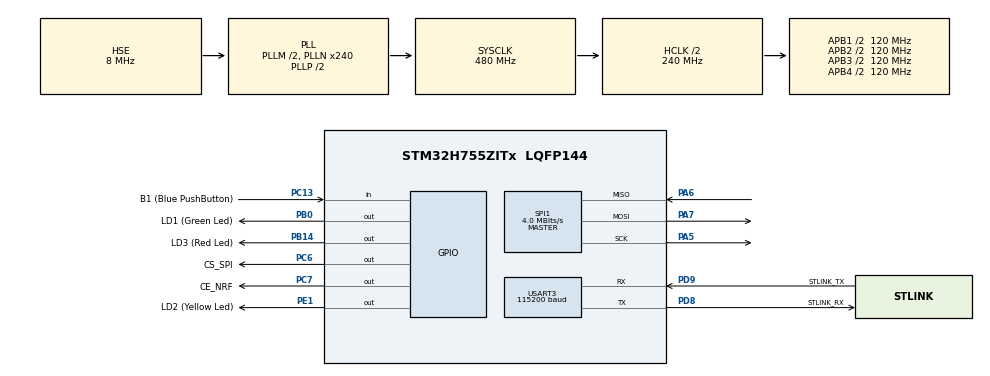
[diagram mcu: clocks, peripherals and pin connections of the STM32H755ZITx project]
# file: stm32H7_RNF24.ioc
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CortexM4.IPs=BDMA,CORTEX_M4\:I,DEBUG,DMA,FATFS_M4\:I,FREERTOS_M4\:I,GPIO,IWDG2\:I,MDMA,NVIC2\:I,OPENAMP_M4\:I,PDM2PCM_M4\:I,PWR,RCC,RESMGR_UTILITY,SYS_M4\:I,USB_DEVICE_M4\:I,USB_HOST_M4\:I,VREFBUF,WWDG2\:I,USART3,SPI1
CortexM4.Pins=PE1
CortexM7.IPs=BDMA\:I,CORTEX_M7\:I,DEBUG\:I,DMA\:I,FATFS_M7\:I,FREERTOS_M7\:I,GPIO\:I,IWDG1\:I,MDMA\:I,NVIC1\:I,OPENAMP_M7\:I,PDM2PCM_M7\:I,PWR\:I,RCC\:I,RESMGR_UTILITY\:I,SYS\:I,USB_DEVICE_M7\:I,USB_HOST_M7\:I,VREFBUF\:I,WWDG1\:I,USART3\:I,SPI1\:I
CortexM7.Pins=PC13,PB0,PB14,PC6,PC7
Mcu.Family=STM32H7
Mcu.Name=STM32H755ZITx
Mcu.Package=LQFP144
NVIC1.PriorityGroup=NVIC_PRIORITYGROUP_4
NVIC2.PriorityGroup=NVIC_PRIORITYGROUP_4
PA5.GPIO_Speed=GPIO_SPEED_FREQ_HIGH
PA5.Mode=Full_Duplex_Master
PA5.PinAttribute=CortexM7
PA5.Signal=SPI1_SCK
PA6.GPIO_Speed=GPIO_SPEED_FREQ_HIGH
PA6.Mode=Full_Duplex_Master
PA6.PinAttribute=CortexM7
PA6.Signal=SPI1_MISO
PA7.GPIO_Speed=GPIO_SPEED_FREQ_HIGH
PA7.Mode=Full_Duplex_Master
PA7.PinAttribute=CortexM7
PA7.Signal=SPI1_MOSI
PB0.GPIO_Label=LD1 (Green Led)
PB0.PinAttribute=CortexM7
PB0.Signal=GPIO_Output
PB14.GPIO_Label=LD3 (Red Led)
PB14.PinAttribute=CortexM7
PB14.Signal=GPIO_Output
PC13.GPIO_Label=B1 (Blue PushButton)
PC13.PinAttribute=CortexM7
PC13.Signal=GPIO_Input
PC14-OSC32_IN\ (OSC32_IN).Mode=LSE-External-Oscillator
PC14-OSC32_IN\ (OSC32_IN).PinAttribute=CortexM7
PC14-OSC32_IN\ (OSC32_IN).Signal=RCC_OSC32_IN
PC15-OSC32_OUT\ (OSC32_OUT).Mode=LSE-External-Oscillator
PC15-OSC32_OUT\ (OSC32_OUT).PinAttribute=CortexM7
PC15-OSC32_OUT\ (OSC32_OUT).Signal=RCC_OSC32_OUT
PC6.GPIO_Label=CS_SPI
PC6.PinAttribute=CortexM7
PC6.Signal=GPIO_Output
PC7.GPIO_Label=CE_NRF
PC7.PinAttribute=CortexM7
PC7.Signal=GPIO_Output
PD5.PinAttribute=CortexM7
PD5.Signal=USART2_TX
PD8.GPIO_Label=STLINK_RX
PD8.Mode=Asynchronous
PD8.PinAttribute=CortexM7
PD8.Signal=USART3_TX
PD9.GPIO_Label=STLINK_TX
PD9.Mode=Asynchronous
PD9.PinAttribute=CortexM7
PD9.Signal=USART3_RX
PE1.GPIO_Label=LD2 (Yellow Led)
PE1.PinAttribute=CortexM4
PE1.Signal=GPIO_Output
PH0-OSC_IN\ (PH0).Mode=HSE-External-Clock-Source
PH0-OSC_IN\ (PH0).PinAttribute=CortexM7
PH0-OSC_IN\ (PH0).Signal=RCC_OSC_IN
ProjectManager.HeapSize=M4-0x200,M7-0x200
ProjectManager.StackSize=M4-0x400,M7-0x400
ProjectManager.TargetToolchain=STM32CubeIDE
RCC.ADCFreq_Value=16125000
RCC.APB1Freq_Value=120000000
RCC.APB2Freq_Value=120000000
RCC.APB3Freq_Value=120000000
RCC.APB4Freq_Value=120000000
RCC.CortexFreq_Value=480000000
RCC.D1PPRE=RCC_APB3_DIV2
RCC.D2PPRE1=RCC_APB1_DIV2
RCC.D2PPRE2=RCC_APB2_DIV2
RCC.D3PPRE=RCC_APB4_DIV2
RCC.DIVM1=2
RCC.DIVN1=240
RCC.HCLKFreq_Value=240000000
RCC.HPRE=RCC_HCLK_DIV2
RCC.HSE_VALUE=8000000
RCC.PLLSourceVirtual=RCC_PLLSOURCE_HSE
RCC.SPI123CLockSelection=RCC_SPI123CLKSOURCE_CLKP
RCC.SYSCLKFreq_VALUE=480000000
RCC.SYSCLKSource=RCC_SYSCLKSOURCE_PLLCLK
RCC.USBFreq_Value=480000000
SPI1.BaudRatePrescaler=SPI_BAUDRATEPRESCALER_16
SPI1.CLKPhase=SPI_PHASE_1EDGE
SPI1.CLKPolarity=SPI_POLARITY_LOW
SPI1.CalculateBaudRate=4.0 MBits/s
SPI1.DataSize=SPI_DATASIZE_8BIT
SPI1.Direction=SPI_DIRECTION_2LINES
SPI1.Mode=SPI_MODE_MASTER
SPI1.VirtualType=VM_MASTER
USART3.BaudRate=115200
USART3.VirtualMode-Asynchronous=VM_ASYNC
board=custom

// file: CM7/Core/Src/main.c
/* USER CODE BEGIN Header */
/**
  ******************************************************************************
  * @file           : main.c
  * @brief          : Main program body
  ******************************************************************************
  * @attention
  *
  * Copyright (c) 2023 STMicroelectronics.
  * All rights reserved.
  *
  * This software is licensed under terms that can be found in the LICENSE file
  * in the root directory of this software component.
  * If no LICENSE file comes with this software, it is provided AS-IS.
  *
  ******************************************************************************
  */
/* USER CODE END Header */
#include "main.h"
#include "myprintf.h"
/* USER CODE BEGIN Includes */
#include "MY_NRF24.h"
#include "string.h"
#include "stdio.h"
#include "stdint.h"

/* USER CODE END Includes */

/* USER CODE BEGIN PD */

#ifndef HSEM_ID_0
#define HSEM_ID_0 (0U) /* HW semaphore 0*/
#endif
/* USER CODE END PD */

SPI_HandleTypeDef hspi1;

UART_HandleTypeDef huart3;

void SystemClock_Config(void);
void PeriphCommonClock_Config(void);
static void MX_GPIO_Init(void);
static void MX_USART3_UART_Init(void);
static void MX_SPI1_Init(void);

/* USER CODE BEGIN 0 */
uint64_t RxpipeAddrs = 0x11223344AA;
uint8_t  myRxData[50];
char myAckPayload[32] = "Ack by STMF7!";
// Modificaciones
char binaryResult[17];
uint16_t x = 0;
uint16_t y = 0;
uint16_t a = 0;

/* USER CODE END 0 */

int main(void)
{
/* USER CODE BEGIN Boot_Mode_Sequence_0 */
  int32_t timeout;
/* USER CODE END Boot_Mode_Sequence_0 */

/* USER CODE BEGIN Boot_Mode_Sequence_1 */
  /* Wait until CPU2 boots and enters in stop mode or timeout*/
  timeout = 0xFFFF;
  while((__HAL_RCC_GET_FLAG(RCC_FLAG_D2CKRDY) != RESET) && (timeout-- > 0));
  if ( timeout < 0 )
  {
  Error_Handler();
  }
/* USER CODE END Boot_Mode_Sequence_1 */
  /* MCU Configuration--------------------------------------------------------*/

  /* Reset of all peripherals, Initializes the Flash interface and the Systick. */
  HAL_Init();

  /* Configure the system clock */
  SystemClock_Config();

/* Configure the peripherals common clocks */
  PeriphCommonClock_Config();
/* USER CODE BEGIN Boot_Mode_Sequence_2 */
/* When system initialization is finished, Cortex-M7 will release Cortex-M4 by means of
HSEM notification */
/*HW semaphore Clock enable*/
__HAL_RCC_HSEM_CLK_ENABLE();
/*Take HSEM */
HAL_HSEM_FastTake(HSEM_ID_0);
/*Release HSEM in order to notify the CPU2(CM4)*/
HAL_HSEM_Release(HSEM_ID_0,0);
/* wait until CPU2 wakes up from stop mode */
timeout = 0xFFFF;
while((__HAL_RCC_GET_FLAG(RCC_FLAG_D2CKRDY) == RESET) && (timeout-- > 0));
if ( timeout < 0 )
{
Error_Handler();
}
/* USER CODE END Boot_Mode_Sequence_2 */

  /* Initialize all configured peripherals */
  MX_GPIO_Init();
  MX_USART3_UART_Init();
  MX_SPI1_Init();
  /* USER CODE BEGIN 2 */

  NRF24_begin(GPIOC,GPIO_PIN_6,GPIO_PIN_7, hspi1);
  nrf24_DebugUART_Init(huart3);

  NRF24_setAutoAck(false);
  NRF24_setChannel(52);
  NRF24_setPayloadSize(32);
  NRF24_setDataRate(RF24_2MBPS);
  NRF24_openReadingPipe(0, RxpipeAddrs);
  NRF24_enableDynamicPayloads();
  //NRF24_enableAckPayload();
  printRadioSettings();
  NRF24_startListening();
  /* USER CODE END 2 */

  /* Infinite loop */
  while (1)
  {

    /* USER CODE BEGIN 3 */
	  if(NRF24_available())
	  		{
		  NRF24_read(myRxData, 32);
		  printf("Coordenadas: %d %d %d %d %d %d\r\n",myRxData[0],myRxData[1],myRxData[2],myRxData[3],myRxData[4],myRxData[5],myRxData[6]);
		  //HAL_UART_Transmit(&huart3, (uint8_t *)myRxData, 32, 10);
		 /*
		  // Concatenar y convertir el par 0 y 1
		 intToBinary(myRxData[0], binaryResult);
		 intToBinary(myRxData[1], binaryResult + 8);
		 printf("Resultado decimal X: %d\r\n", binaryToDecimal(binaryResult));

		 // Concatenar y convertir el par 2 y 3
		 intToBinary(myRxData[2], binaryResult);
		 intToBinary(myRxData[3], binaryResult + 8);
		 printf("Resultado decimal Y: %d\r\n", binaryToDecimal(binaryResult));

		 // Concatenar y convertir el par 4 y 5
		 intToBinary(myRxData[4], binaryResult);
		 intToBinary(myRxData[5], binaryResult + 8);
		 printf("Resultado decimal A: %d\r\n", binaryToDecimal(binaryResult));
		 */
		 x = ((uint16_t)myRxData[0] << 8) | (uint16_t)myRxData[1];
		 y = ((uint16_t)myRxData[2] << 8) | (uint16_t)myRxData[3];
		 a = ((uint16_t)myRxData[4] << 8) | (uint16_t)myRxData[5];

		 printf("%u %u %u\r\n", x, y, a);
		 	  }
  }
  /* USER CODE END 3 */
}

void SystemClock_Config(void)
{
  RCC_OscInitTypeDef RCC_OscInitStruct = {0};
  RCC_ClkInitTypeDef RCC_ClkInitStruct = {0};

  /** Supply configuration update enable
  */
  HAL_PWREx_ConfigSupply(PWR_DIRECT_SMPS_SUPPLY);

  /** Configure the main internal regulator output voltage
  */
  __HAL_PWR_VOLTAGESCALING_CONFIG(PWR_REGULATOR_VOLTAGE_SCALE0);

  while(!__HAL_PWR_GET_FLAG(PWR_FLAG_VOSRDY)) {}

  /** Initializes the RCC Oscillators according to the specified parameters
  * in the RCC_OscInitTypeDef structure.
  */
  RCC_OscInitStruct.OscillatorType = RCC_OSCILLATORTYPE_HSI|RCC_OSCILLATORTYPE_HSE;
  RCC_OscInitStruct.HSEState = RCC_HSE_BYPASS;
  RCC_OscInitStruct.HSIState = RCC_HSI_DIV1;
  RCC_OscInitStruct.HSICalibrationValue = RCC_HSICALIBRATION_DEFAULT;
  RCC_OscInitStruct.PLL.PLLState = RCC_PLL_ON;
  RCC_OscInitStruct.PLL.PLLSource = RCC_PLLSOURCE_HSE;
  RCC_OscInitStruct.PLL.PLLM = 2;
  RCC_OscInitStruct.PLL.PLLN = 240;
  RCC_OscInitStruct.PLL.PLLP = 2;
  RCC_OscInitStruct.PLL.PLLQ = 2;
  RCC_OscInitStruct.PLL.PLLR = 2;
  RCC_OscInitStruct.PLL.PLLRGE = RCC_PLL1VCIRANGE_2;
  RCC_OscInitStruct.PLL.PLLVCOSEL = RCC_PLL1VCOWIDE;
  RCC_OscInitStruct.PLL.PLLFRACN = 0;
  if (HAL_RCC_OscConfig(&RCC_OscInitStruct) != HAL_OK)
  {
    Error_Handler();
  }

  /** Initializes the CPU, AHB and APB buses clocks
  */
  RCC_ClkInitStruct.ClockType = RCC_CLOCKTYPE_HCLK|RCC_CLOCKTYPE_SYSCLK
                              |RCC_CLOCKTYPE_PCLK1|RCC_CLOCKTYPE_PCLK2
                              |RCC_CLOCKTYPE_D3PCLK1|RCC_CLOCKTYPE_D1PCLK1;
  RCC_ClkInitStruct.SYSCLKSource = RCC_SYSCLKSOURCE_PLLCLK;
  RCC_ClkInitStruct.SYSCLKDivider = RCC_SYSCLK_DIV1;
  RCC_ClkInitStruct.AHBCLKDivider = RCC_HCLK_DIV2;
  RCC_ClkInitStruct.APB3CLKDivider = RCC_APB3_DIV2;
  RCC_ClkInitStruct.APB1CLKDivider = RCC_APB1_DIV2;
  RCC_ClkInitStruct.APB2CLKDivider = RCC_APB2_DIV2;
  RCC_ClkInitStruct.APB4CLKDivider = RCC_APB4_DIV2;

  if (HAL_RCC_ClockConfig(&RCC_ClkInitStruct, FLASH_LATENCY_4) != HAL_OK)
  {
    Error_Handler();
  }
}

void PeriphCommonClock_Config(void)
{
  RCC_PeriphCLKInitTypeDef PeriphClkInitStruct = {0};

  /** Initializes the peripherals clock
  */
  PeriphClkInitStruct.PeriphClockSelection = RCC_PERIPHCLK_CKPER;
  PeriphClkInitStruct.CkperClockSelection = RCC_CLKPSOURCE_HSI;
  if (HAL_RCCEx_PeriphCLKConfig(&PeriphClkInitStruct) != HAL_OK)
  {
    Error_Handler();
  }
}

static void MX_SPI1_Init(void)
{

  /* SPI1 parameter configuration*/
  hspi1.Instance = SPI1;
  hspi1.Init.Mode = SPI_MODE_MASTER;
  hspi1.Init.Direction = SPI_DIRECTION_2LINES;
  hspi1.Init.DataSize = SPI_DATASIZE_8BIT;
  hspi1.Init.CLKPolarity = SPI_POLARITY_LOW;
  hspi1.Init.CLKPhase = SPI_PHASE_1EDGE;
  hspi1.Init.NSS = SPI_NSS_SOFT;
  hspi1.Init.BaudRatePrescaler = SPI_BAUDRATEPRESCALER_16;
  hspi1.Init.FirstBit = SPI_FIRSTBIT_MSB;
  hspi1.Init.TIMode = SPI_TIMODE_DISABLE;
  hspi1.Init.CRCCalculation = SPI_CRCCALCULATION_DISABLE;
  hspi1.Init.CRCPolynomial = 0x0;
  hspi1.Init.NSSPMode = SPI_NSS_PULSE_ENABLE;
  hspi1.Init.NSSPolarity = SPI_NSS_POLARITY_LOW;
  hspi1.Init.FifoThreshold = SPI_FIFO_THRESHOLD_01DATA;
  hspi1.Init.TxCRCInitializationPattern = SPI_CRC_INITIALIZATION_ALL_ZERO_PATTERN;
  hspi1.Init.RxCRCInitializationPattern = SPI_CRC_INITIALIZATION_ALL_ZERO_PATTERN;
  hspi1.Init.MasterSSIdleness = SPI_MASTER_SS_IDLENESS_00CYCLE;
  hspi1.Init.MasterInterDataIdleness = SPI_MASTER_INTERDATA_IDLENESS_00CYCLE;
  hspi1.Init.MasterReceiverAutoSusp = SPI_MASTER_RX_AUTOSUSP_DISABLE;
  hspi1.Init.MasterKeepIOState = SPI_MASTER_KEEP_IO_STATE_DISABLE;
  hspi1.Init.IOSwap = SPI_IO_SWAP_DISABLE;
  if (HAL_SPI_Init(&hspi1) != HAL_OK)
  {
    Error_Handler();
  }

}

static void MX_USART3_UART_Init(void)
{

  huart3.Instance = USART3;
  huart3.Init.BaudRate = 115200;
  huart3.Init.WordLength = UART_WORDLENGTH_8B;
  huart3.Init.StopBits = UART_STOPBITS_1;
  huart3.Init.Parity = UART_PARITY_NONE;
  huart3.Init.Mode = UART_MODE_TX_RX;
  huart3.Init.HwFlowCtl = UART_HWCONTROL_NONE;
  huart3.Init.OverSampling = UART_OVERSAMPLING_16;
  huart3.Init.OneBitSampling = UART_ONE_BIT_SAMPLE_DISABLE;
  huart3.Init.ClockPrescaler = UART_PRESCALER_DIV1;
  huart3.AdvancedInit.AdvFeatureInit = UART_ADVFEATURE_NO_INIT;
  if (HAL_UART_Init(&huart3) != HAL_OK)
  {
    Error_Handler();
  }
  if (HAL_UARTEx_SetTxFifoThreshold(&huart3, UART_TXFIFO_THRESHOLD_1_8) != HAL_OK)
  {
    Error_Handler();
  }
  if (HAL_UARTEx_SetRxFifoThreshold(&huart3, UART_RXFIFO_THRESHOLD_1_8) != HAL_OK)
  {
    Error_Handler();
  }
  if (HAL_UARTEx_DisableFifoMode(&huart3) != HAL_OK)
  {
    Error_Handler();
  }

}

static void MX_GPIO_Init(void)
{
  GPIO_InitTypeDef GPIO_InitStruct = {0};

  /* GPIO Ports Clock Enable */
  __HAL_RCC_GPIOC_CLK_ENABLE();
  __HAL_RCC_GPIOH_CLK_ENABLE();
  __HAL_RCC_GPIOA_CLK_ENABLE();
  __HAL_RCC_GPIOB_CLK_ENABLE();
  __HAL_RCC_GPIOD_CLK_ENABLE();

  /*Configure GPIO pin Output Level */
  HAL_GPIO_WritePin(GPIOB, LD1_Pin|LD3_Pin, GPIO_PIN_RESET);

  /*Configure GPIO pin Output Level */
  HAL_GPIO_WritePin(GPIOC, CS_SPI_Pin|CE_NRF_Pin, GPIO_PIN_RESET);

  /*Configure GPIO pin : B1_Pin */
  GPIO_InitStruct.Pin = B1_Pin;
  GPIO_InitStruct.Mode = GPIO_MODE_INPUT;
  GPIO_InitStruct.Pull = GPIO_NOPULL;
  HAL_GPIO_Init(B1_GPIO_Port, &GPIO_InitStruct);

  /*Configure GPIO pins : LD1_Pin LD3_Pin */
  GPIO_InitStruct.Pin = LD1_Pin|LD3_Pin;
  GPIO_InitStruct.Mode = GPIO_MODE_OUTPUT_PP;
  GPIO_InitStruct.Pull = GPIO_NOPULL;
  GPIO_InitStruct.Speed = GPIO_SPEED_FREQ_LOW;
  HAL_GPIO_Init(GPIOB, &GPIO_InitStruct);

  /*Configure GPIO pins : CS_SPI_Pin CE_NRF_Pin */
  GPIO_InitStruct.Pin = CS_SPI_Pin|CE_NRF_Pin;
  GPIO_InitStruct.Mode = GPIO_MODE_OUTPUT_PP;
  GPIO_InitStruct.Pull = GPIO_NOPULL;
  GPIO_InitStruct.Speed = GPIO_SPEED_FREQ_LOW;
  HAL_GPIO_Init(GPIOC, &GPIO_InitStruct);

}

/* USER CODE BEGIN 4 */
// Modificaciones
/*
void intToBinary(uint8_t num, char binary[9]) {
    for (int i = 7; i >= 0; --i) {
        binary[7 - i] = ((num >> i) & 1) + '0';
    }
    binary[8] = '\0';  // Agrega el carácter nulo al final de la cadena
}

int binaryToDecimal(const char *binary) {
    int decimal = 0;
    int len = strlen(binary);

    for (int i = 0; i < len; ++i) {
        decimal += (binary[i] - '0') * pow(2, len - 1 - i);
    }

    return decimal;
}
*/
/* USER CODE END 4 */

void Error_Handler(void)
{
  __disable_irq();
  while (1)
  {
  }
}
